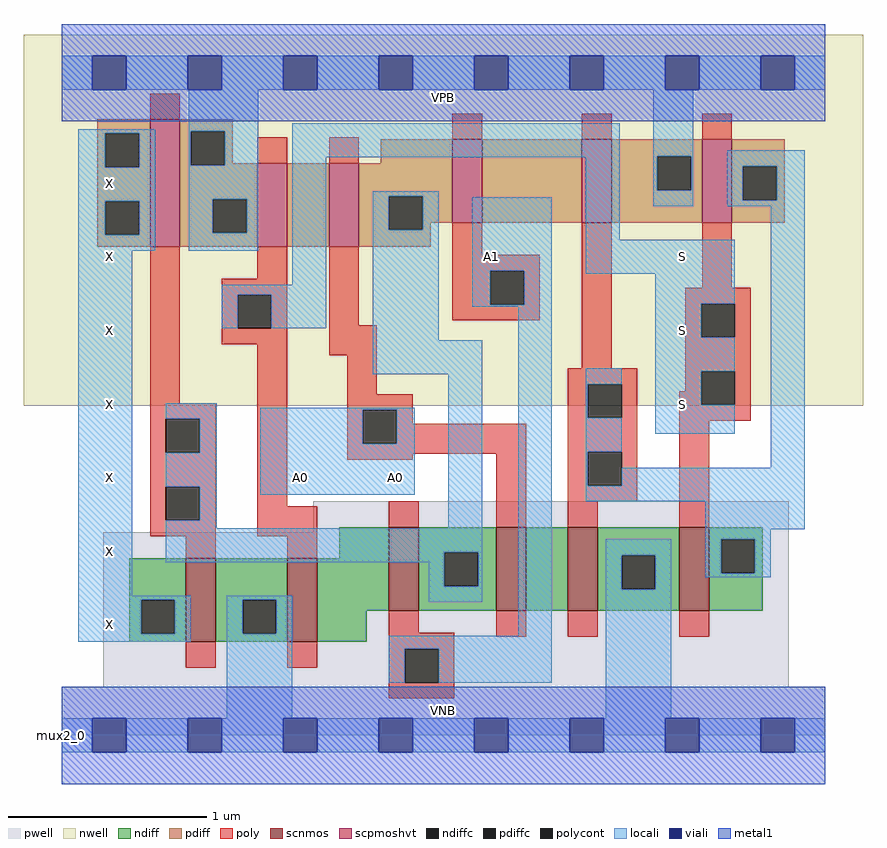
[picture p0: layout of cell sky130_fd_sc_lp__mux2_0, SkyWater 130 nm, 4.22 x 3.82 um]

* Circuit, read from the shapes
.subckt sky130_fd_sc_lp__mux2_0 A0 A1 S VGND VNB VPB VPWR X
XM1 VGND n1 X VNB sky130_fd_pr__nfet_01v8 w=0.42 l=0.15
XM2 n2 S VGND VNB sky130_fd_pr__nfet_01v8 w=0.42 l=0.15
XM3 n1 A1 n2 VNB sky130_fd_pr__nfet_01v8 w=0.42 l=0.15
XM4 n3 A0 n1 VNB sky130_fd_pr__nfet_01v8 w=0.42 l=0.15
XM5 VGND n4 n3 VNB sky130_fd_pr__nfet_01v8 w=0.42 l=0.15
XM6 n4 S VGND VNB sky130_fd_pr__nfet_01v8 w=0.42 l=0.15
XM7 VPWR n1 X VPB sky130_fd_pr__pfet_01v8_hvt w=0.64 l=0.15
XM8 n5 S VPWR VPB sky130_fd_pr__pfet_01v8_hvt w=0.42 l=0.15
XM9 n1 A0 n5 VPB sky130_fd_pr__pfet_01v8_hvt w=0.42 l=0.15
XM10 n6 A1 n1 VPB sky130_fd_pr__pfet_01v8_hvt w=0.42 l=0.15
XM11 VPWR n4 n6 VPB sky130_fd_pr__pfet_01v8_hvt w=0.42 l=0.15
XM12 n4 S VPWR VPB sky130_fd_pr__pfet_01v8_hvt w=0.42 l=0.15
.ends

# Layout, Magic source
magic
tech sky130A
magscale 1 2
<< nwell >>
rect -38 331 806 704
<< pwell >>
rect 253 204 731 235
rect 42 49 731 204
rect 0 0 768 49
<< scnmos >>
rect 125 94 155 178
rect 227 94 257 178
rect 329 125 359 209
rect 437 125 467 209
rect 509 125 539 209
rect 621 125 651 209
<< scpmoshvt >>
rect 89 491 119 619
rect 197 491 227 575
rect 269 491 299 575
rect 393 515 423 599
rect 523 515 553 599
rect 644 515 674 599
<< ndiff >>
rect 279 178 329 209
rect 68 136 125 178
rect 68 102 80 136
rect 114 102 125 136
rect 68 94 125 102
rect 155 136 227 178
rect 155 102 182 136
rect 216 102 227 136
rect 155 94 227 102
rect 257 125 329 178
rect 359 184 437 209
rect 359 150 385 184
rect 419 150 437 184
rect 359 125 437 150
rect 467 125 509 209
rect 539 181 621 209
rect 539 147 563 181
rect 597 147 621 181
rect 539 125 621 147
rect 651 197 705 209
rect 651 163 663 197
rect 697 163 705 197
rect 651 125 705 163
rect 257 94 307 125
<< pdiff >>
rect 36 605 89 619
rect 36 571 44 605
rect 78 571 89 605
rect 36 537 89 571
rect 36 503 44 537
rect 78 503 89 537
rect 36 491 89 503
rect 119 607 172 619
rect 119 573 130 607
rect 164 575 172 607
rect 321 575 393 599
rect 164 573 197 575
rect 119 539 197 573
rect 119 505 152 539
rect 186 505 197 539
rect 119 491 197 505
rect 227 491 269 575
rect 299 542 393 575
rect 299 508 329 542
rect 363 515 393 542
rect 423 515 523 599
rect 553 582 644 599
rect 553 548 599 582
rect 633 548 644 582
rect 553 515 644 548
rect 674 572 727 599
rect 674 538 685 572
rect 719 538 727 572
rect 674 515 727 538
rect 363 508 371 515
rect 299 491 371 508
<< ndiffc >>
rect 80 102 114 136
rect 182 102 216 136
rect 385 150 419 184
rect 563 147 597 181
rect 663 163 697 197
<< pdiffc >>
rect 44 571 78 605
rect 44 503 78 537
rect 130 573 164 607
rect 152 505 186 539
rect 329 508 363 542
rect 599 548 633 582
rect 685 538 719 572
<< poly >>
rect 89 619 119 645
rect 197 575 227 601
rect 269 575 299 601
rect 393 599 423 625
rect 523 599 553 625
rect 644 599 674 625
rect 89 334 119 491
rect 197 459 227 491
rect 161 443 227 459
rect 161 409 177 443
rect 211 409 227 443
rect 161 393 227 409
rect 89 318 155 334
rect 89 284 105 318
rect 139 284 155 318
rect 89 250 155 284
rect 89 216 105 250
rect 139 216 155 250
rect 89 200 155 216
rect 197 230 227 393
rect 269 412 299 491
rect 393 483 423 515
rect 393 467 481 483
rect 393 433 431 467
rect 465 433 481 467
rect 393 417 481 433
rect 269 382 317 412
rect 287 343 317 382
rect 523 369 553 515
rect 644 450 674 515
rect 627 434 693 450
rect 627 400 643 434
rect 677 400 693 434
rect 509 353 579 369
rect 287 327 353 343
rect 287 293 303 327
rect 337 313 353 327
rect 509 319 529 353
rect 563 319 579 353
rect 627 366 693 400
rect 627 346 643 366
rect 337 293 467 313
rect 287 283 467 293
rect 287 277 353 283
rect 197 200 257 230
rect 329 209 359 235
rect 437 209 467 283
rect 509 285 579 319
rect 509 251 529 285
rect 563 251 579 285
rect 509 235 579 251
rect 621 332 643 346
rect 677 332 693 366
rect 621 316 693 332
rect 509 209 539 235
rect 621 209 651 316
rect 125 178 155 200
rect 227 178 257 200
rect 329 103 359 125
rect 125 68 155 94
rect 227 68 257 94
rect 329 87 395 103
rect 437 99 467 125
rect 509 99 539 125
rect 621 99 651 125
rect 329 53 345 87
rect 379 53 395 87
rect 329 37 395 53
<< polycont >>
rect 177 409 211 443
rect 105 284 139 318
rect 105 216 139 250
rect 431 433 465 467
rect 643 400 677 434
rect 303 293 337 327
rect 529 319 563 353
rect 529 251 563 285
rect 643 332 677 366
rect 345 53 379 87
<< locali >>
rect 0 649 31 683
rect 65 649 127 683
rect 161 649 223 683
rect 257 649 319 683
rect 353 649 415 683
rect 449 649 511 683
rect 545 649 607 683
rect 641 649 703 683
rect 737 649 768 683
rect 17 605 94 609
rect 17 571 44 605
rect 78 571 94 605
rect 17 537 94 571
rect 17 503 44 537
rect 78 503 94 537
rect 17 487 94 503
rect 128 607 198 649
rect 128 573 130 607
rect 164 573 198 607
rect 128 539 198 573
rect 128 505 152 539
rect 186 505 198 539
rect 128 487 198 505
rect 232 581 561 615
rect 17 140 71 487
rect 232 453 266 581
rect 161 443 266 453
rect 161 409 177 443
rect 211 409 266 443
rect 313 542 379 547
rect 313 508 329 542
rect 363 508 379 542
rect 313 397 379 508
rect 413 467 493 541
rect 413 433 431 467
rect 465 433 493 467
rect 527 498 561 581
rect 595 582 635 649
rect 595 548 599 582
rect 633 548 635 582
rect 595 532 635 548
rect 669 572 747 588
rect 669 538 685 572
rect 719 538 747 572
rect 669 532 747 538
rect 527 464 677 498
rect 413 431 493 433
rect 313 363 423 397
rect 105 318 156 334
rect 139 284 156 318
rect 105 250 156 284
rect 139 216 156 250
rect 200 327 355 329
rect 200 293 303 327
rect 337 293 355 327
rect 200 242 355 293
rect 105 208 156 216
rect 389 208 423 363
rect 105 184 423 208
rect 105 174 385 184
rect 369 150 385 174
rect 419 150 423 184
rect 17 136 130 140
rect 17 102 80 136
rect 114 102 130 136
rect 17 94 130 102
rect 166 136 232 140
rect 166 102 182 136
rect 216 102 232 136
rect 369 134 423 150
rect 166 17 232 102
rect 459 100 493 431
rect 597 434 677 464
rect 597 400 643 434
rect 527 353 563 369
rect 527 319 529 353
rect 527 285 563 319
rect 597 366 677 400
rect 597 332 643 366
rect 597 303 677 332
rect 527 251 529 285
rect 713 269 747 532
rect 563 251 747 269
rect 527 235 747 251
rect 647 207 747 235
rect 647 197 713 207
rect 329 87 493 100
rect 329 53 345 87
rect 379 53 493 87
rect 547 181 613 197
rect 547 147 563 181
rect 597 147 613 181
rect 647 163 663 197
rect 697 163 713 197
rect 647 159 713 163
rect 547 17 613 147
rect 0 -17 31 17
rect 65 -17 127 17
rect 161 -17 223 17
rect 257 -17 319 17
rect 353 -17 415 17
rect 449 -17 511 17
rect 545 -17 607 17
rect 641 -17 703 17
rect 737 -17 768 17
<< viali >>
rect 31 649 65 683
rect 127 649 161 683
rect 223 649 257 683
rect 319 649 353 683
rect 415 649 449 683
rect 511 649 545 683
rect 607 649 641 683
rect 703 649 737 683
rect 31 -17 65 17
rect 127 -17 161 17
rect 223 -17 257 17
rect 319 -17 353 17
rect 415 -17 449 17
rect 511 -17 545 17
rect 607 -17 641 17
rect 703 -17 737 17
<< metal1 >>
rect 0 683 768 715
rect 0 649 31 683
rect 65 649 127 683
rect 161 649 223 683
rect 257 649 319 683
rect 353 649 415 683
rect 449 649 511 683
rect 545 649 607 683
rect 641 649 703 683
rect 737 649 768 683
rect 0 617 768 649
rect 0 17 768 49
rect 0 -17 31 17
rect 65 -17 127 17
rect 161 -17 223 17
rect 257 -17 319 17
rect 353 -17 415 17
rect 449 -17 511 17
rect 545 -17 607 17
rect 641 -17 703 17
rect 737 -17 768 17
rect 0 -49 768 -17
<< labels >>
flabel pwell s 0 0 768 49 0 FreeSans 200 0 0 0 VNB
port 5 nsew ground bidirectional
flabel nwell s 0 617 768 666 0 FreeSans 200 0 0 0 VPB
port 6 nsew power bidirectional
rlabel comment s 0 0 0 0 4 mux2_0
flabel metal1 s 0 617 768 666 0 FreeSans 340 0 0 0 VPWR
port 7 nsew power bidirectional
flabel metal1 s 0 0 768 49 0 FreeSans 340 0 0 0 VGND
port 4 nsew ground bidirectional
flabel locali s 607 316 641 350 0 FreeSans 340 0 0 0 S
port 3 nsew signal input
flabel locali s 607 390 641 424 0 FreeSans 340 0 0 0 S
port 3 nsew signal input
flabel locali s 607 464 641 498 0 FreeSans 340 0 0 0 S
port 3 nsew signal input
flabel locali s 223 242 257 276 0 FreeSans 340 0 0 0 A0
port 1 nsew signal input
flabel locali s 319 242 353 276 0 FreeSans 340 0 0 0 A0
port 1 nsew signal input
flabel locali s 415 464 449 498 0 FreeSans 340 0 0 0 A1
port 2 nsew signal input
flabel locali s 31 94 65 128 0 FreeSans 340 0 0 0 X
port 8 nsew signal output
flabel locali s 31 168 65 202 0 FreeSans 340 0 0 0 X
port 8 nsew signal output
flabel locali s 31 242 65 276 0 FreeSans 340 0 0 0 X
port 8 nsew signal output
flabel locali s 31 316 65 350 0 FreeSans 340 0 0 0 X
port 8 nsew signal output
flabel locali s 31 390 65 424 0 FreeSans 340 0 0 0 X
port 8 nsew signal output
flabel locali s 31 464 65 498 0 FreeSans 340 0 0 0 X
port 8 nsew signal output
flabel locali s 31 538 65 572 0 FreeSans 340 0 0 0 X
port 8 nsew signal output
<< properties >>
string LEFsite unit
string LEFclass CORE
string FIXED_BBOX 0 0 768 666
string GDS_FILE $PDKPATH/libs.ref/sky130_fd_sc_lp/gds/sky130_fd_sc_lp.gds
string LEFsymmetry X Y R90
string GDS_END 1700566
string GDS_START 1693028
<< end >>
